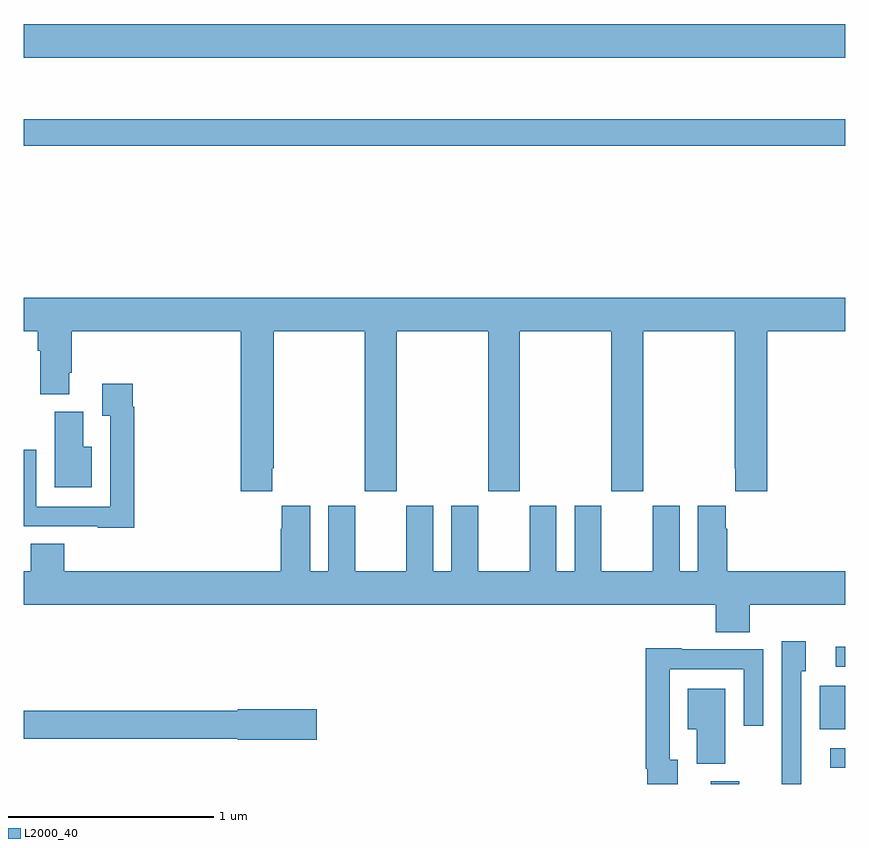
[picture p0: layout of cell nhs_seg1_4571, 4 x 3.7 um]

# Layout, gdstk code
import gdstk
lib = gdstk.Library(unit=1e-6, precision=1e-09)
def R(c, l, rs):  # rectangles x0, y0, x1, y1
    for r in rs: c.add(gdstk.rectangle(r[:2], r[2:], *l))
def P(c, l, *ps):  # polygons
    for p in ps: c.add(gdstk.Polygon(p, *l))
L2000_40 = (2000, 40)

nhs_seg1_4571 = lib.new_cell('nhs_seg1_4571')
R(nhs_seg1_4571, L2000_40, [(362.345,544.199,362.485,544.212), (362.928,544.278,363,544.374), (362.876,544.466,363,544.677), (362.955,544.77,363,544.868), (359,547.306,363,547.435), (359,547.736,363,547.9)])
P(nhs_seg1_4571, L2000_40, [(360.211,545.737),(360.216,545.737),(360.216,546.404),(360.661,546.404),(360.661,545.625),(360.816,545.625),(360.816,546.404),(361.261,546.404),(361.261,545.625),(361.416,545.625),(361.416,546.404),(361.861,546.404),(361.861,545.625),(362.016,545.625),(362.016,546.404),(362.461,546.404),(362.461,545.737),(362.465,545.737),(362.465,545.625),(362.621,545.625),(362.621,546.404),(363,546.404),(363,546.568),(359,546.568),(359,546.404),(359.069,546.404),(359.069,546.308),(359.081,546.308),(359.081,546.097),(359.221,546.097),(359.221,546.202),(359.234,546.202),(359.234,546.404),(360.056,546.404),(360.056,545.625),(360.211,545.625)],
  [(359.537,546.035),(359.53,546.035),(359.53,546.148),(359.381,546.148),(359.381,545.992),(359.421,545.992),(359.421,545.55),(359.061,545.55),(359.061,545.827),(359,545.827),(359,545.454),(359.361,545.454),(359.361,545.447),(359.537,545.447)],
  [(359.332,545.842),(359.29,545.842),(359.29,546.012),(359.15,546.012),(359.15,545.645),(359.332,545.645)],
  [(361.682,545.554),(361.682,545.236),(361.594,545.236),(361.594,545.554),(361.463,545.554),(361.463,545.236),(361.213,545.236),(361.213,545.554),(361.082,545.554),(361.082,545.236),(360.994,545.236),(360.994,545.554),(360.863,545.554),(360.863,545.236),(360.613,545.236),(360.613,545.554),(360.482,545.554),(360.482,545.236),(360.394,545.236),(360.394,545.554),(360.257,545.554),(360.257,545.441),(360.251,545.441),(360.251,545.236),(359.198,545.236),(359.198,545.369),(359.033,545.369),(359.033,545.236),(359,545.236),(359,545.072),(362.369,545.072),(362.369,544.939),(362.534,544.939),(362.534,545.072),(363,545.072),(363,545.236),(362.426,545.236),(362.426,545.441),(362.419,545.441),(362.419,545.554),(362.282,545.554),(362.282,545.236),(362.194,545.236),(362.194,545.554),(362.063,545.554),(362.063,545.236),(361.813,545.236),(361.813,545.554)],
  [(362.787,544.749),(362.809,544.749),(362.809,544.894),(362.691,544.894),(362.691,544.394),(362.69,544.394),(362.69,544.199),(362.787,544.199)],
  [(362.185,544.317),(362.145,544.317),(362.145,544.758),(362.505,544.758),(362.505,544.482),(362.601,544.482),(362.601,544.854),(362.205,544.854),(362.205,544.861),(362.029,544.861),(362.029,544.273),(362.037,544.273),(362.037,544.199),(362.185,544.199)],
  [(362.416,544.663),(362.234,544.663),(362.234,544.466),(362.276,544.466),(362.276,544.297),(362.416,544.297)],
  [(360.427,544.562),(360.042,544.562),(360.042,544.556),(359,544.556),(359,544.42),(360.042,544.42),(360.042,544.415),(360.427,544.415)])

lib.write_gds('nhs_seg1_4571.gds')
